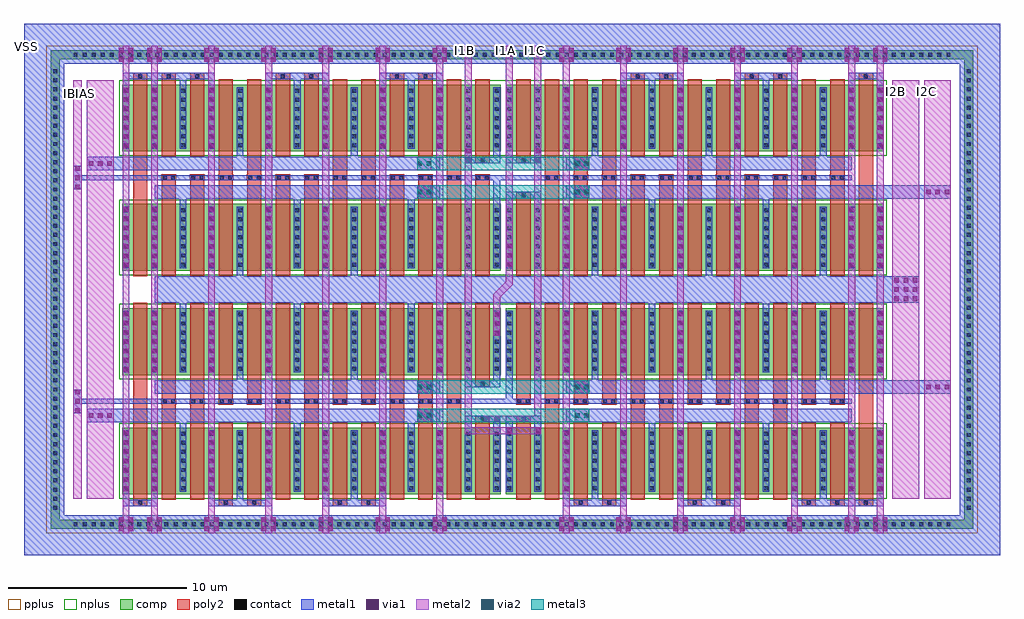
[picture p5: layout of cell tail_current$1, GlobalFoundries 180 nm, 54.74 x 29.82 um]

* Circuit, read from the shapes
.subckt tail_current$1 I1A I1B I1C I2A I2B I2C IBIAS VSS
XM1 VSS VSS VSS VSS nfet_03v3 w=3.75u l=0.8u m=28
XM2 I2A IBIAS VSS VSS nfet_03v3 w=3.75u l=0.8u m=20
XM3 I2B IBIAS VSS VSS nfet_03v3 w=3.75u l=0.8u m=20
XM4 I2C IBIAS VSS VSS nfet_03v3 w=3.75u l=0.8u m=20
XM5 I1C IBIAS VSS VSS nfet_03v3 w=3.75u l=0.8u m=2
XM6 I1A IBIAS VSS VSS nfet_03v3 w=3.75u l=0.8u m=2
XM7 IBIAS IBIAS VSS VSS nfet_03v3 w=3.75u l=0.8u m=2
XM8 I1B IBIAS VSS VSS nfet_03v3 w=3.75u l=0.8u m=2
XM9 I1C I1C I1C VSS nfet_03v3 w=3.75u l=0.8u m=2
XM10 I1A I1A I1A VSS nfet_03v3 w=3.75u l=0.8u m=2
XM11 IBIAS IBIAS IBIAS VSS nfet_03v3 w=3.75u l=0.8u m=2
XM12 I1B I1B I1B VSS nfet_03v3 w=3.75u l=0.8u m=2
.ends

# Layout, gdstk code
from math import pi, radians
import gdstk
lib = gdstk.Library(unit=1e-6, precision=1e-09)
def R(c, l, rs):  # rectangles x0, y0, x1, y1
    for r in rs: c.add(gdstk.rectangle(r[:2], r[2:], *l))
def A(c, l, x, y, w, h, nx, ny, dx, dy):  # array of equal rectangles
    R(c, l, [(x+i*dx, y+j*dy, x+i*dx+w, y+j*dy+h) for i in range(nx) for j in range(ny)])
comp = (22, 0)
poly2 = (30, 0)
pplus = (31, 0)
nplus = (32, 0)
contact = (33, 0)
metal1 = (34, 0)
via1 = (35, 0)
metal2 = (36, 0)
via2 = (38, 0)
metal3 = (42, 0)

nfet_8 = lib.new_cell('nfet$8')
R(nfet_8, comp, [(-0.42,0,0,3.75), (0,0,1.18,3.75), (1.18,0,1.6,3.75)])
R(nfet_8, poly2, [(0.19,-0.3,0.99,4.05), (0.19,4.05,0.99,4.41)])
R(nfet_8, nplus, [(-0.59,-0.24,1.77,3.99)])
A(nfet_8, contact, -0.32, 0.235, 0.22, 0.22, 1, 7, 0, 0.51)
A(nfet_8, contact, 1.28, 0.235, 0.22, 0.22, 1, 7, 0, 0.51)
R(nfet_8, contact, [(0.48,4.12,0.7,4.34)])
R(nfet_8, metal1, [(-0.4,0.155,-0.02,3.595), (1.2,0.155,1.58,3.595), (0.4,4.04,0.78,4.42)])

nmos_1_6 = lib.new_cell('nmos_1$6')
R(nmos_1_6, comp, [(0.08,0.305,0.5,4.055), (0.08,0.305,0.5,4.055), (0.5,0.305,1.68,4.055), (0.5,0.305,1.68,4.055), (1.68,0.305,2.1,4.055), (1.68,0.305,2.1,4.055)])
R(nmos_1_6, poly2, [(0.69,0.005,1.49,4.355), (0.69,0.005,1.49,4.355)])
R(nmos_1_6, nplus, [(-0.09,0.065,2.27,4.295), (-0.09,0.065,2.27,4.295)])
R(nmos_1_6, contact, [(0.18,0.54,0.4,0.76), (0.18,0.54,0.4,0.76), (1.78,0.54,2,0.76), (1.78,0.54,2,0.76), (0.18,1.05,0.4,1.27), (0.18,1.05,0.4,1.27), (1.78,1.05,2,1.27), (1.78,1.05,2,1.27), (0.18,1.56,0.4,1.78), (0.18,1.56,0.4,1.78), (1.78,1.56,2,1.78), (1.78,1.56,2,1.78), (0.18,2.07,0.4,2.29), (0.18,2.07,0.4,2.29), (1.78,2.07,2,2.29), (1.78,2.07,2,2.29), (0.18,2.58,0.4,2.8), (0.18,2.58,0.4,2.8), (1.78,2.58,2,2.8), (1.78,2.58,2,2.8), (0.18,3.09,0.4,3.31), (0.18,3.09,0.4,3.31), (1.78,3.09,2,3.31), (1.78,3.09,2,3.31), (0.18,3.6,0.4,3.82), (0.18,3.6,0.4,3.82), (1.78,3.6,2,3.82), (1.78,3.6,2,3.82)])
R(nmos_1_6, metal1, [(0.1,0.46,0.48,3.9), (0.1,0.46,0.48,3.9), (1.7,0.46,2.08,3.9), (1.7,0.46,2.08,3.9)])

nmos_2_4 = lib.new_cell('nmos_2_4')
R(nmos_2_4, poly2, [(0.1,-13.865,0.9,-11.525), (1.7,-13.865,2.5,-11.525), (0.085,-12.85,0.915,-12.54), (1.685,-12.85,2.515,-12.54), (0.1,-1.325,0.9,0.025), (1.7,-1.325,2.5,0.025), (0.085,-0.31,0.915,0), (1.685,-0.31,2.515,0)])
R(nmos_2_4, contact, [(0.155,-12.805,0.375,-12.585), (0.625,-12.805,0.845,-12.585), (1.755,-12.805,1.975,-12.585), (2.225,-12.805,2.445,-12.585), (0.155,-0.265,0.375,-0.045), (0.625,-0.265,0.845,-0.045), (1.755,-0.265,1.975,-0.045), (2.225,-0.265,2.445,-0.045)])
A(nmos_2_4, via1, -0.43, -17.73, 0.26, 0.26, 1, 7, 0, 0.52)
A(nmos_2_4, via1, 2.77, -17.73, 0.26, 0.26, 1, 7, 0, 0.52)
A(nmos_2_4, via1, -0.43, -11.04, 0.26, 0.26, 1, 7, 0, 0.52)
A(nmos_2_4, via1, 2.77, -11.04, 0.26, 0.26, 1, 7, 0, 0.52)
A(nmos_2_4, via1, -0.43, -5.19, 0.26, 0.26, 1, 7, 0, 0.52)
A(nmos_2_4, via1, 2.77, -5.19, 0.26, 0.26, 1, 7, 0, 0.52)
A(nmos_2_4, via1, -0.43, 1.5, 0.26, 0.26, 1, 7, 0, 0.52)
A(nmos_2_4, via1, 2.77, 1.5, 0.26, 0.26, 1, 7, 0, 0.52)
R(nmos_2_4, via1, [(-0.69,-19.975,-0.43,-19.715), (-0.17,-19.975,0.09,-19.715), (2.51,-19.975,2.77,-19.715), (3.03,-19.975,3.29,-19.715), (-0.69,-19.455,-0.43,-19.195), (-0.17,-19.455,0.09,-19.195), (2.51,-19.455,2.77,-19.195), (3.03,-19.455,3.29,-19.195), (-0.69,6.345,-0.43,6.605), (-0.17,6.345,0.09,6.605), (2.51,6.345,2.77,6.605), (3.03,6.345,3.29,6.605), (-0.69,6.865,-0.43,7.125), (-0.17,6.865,0.09,7.125), (2.51,6.865,2.77,7.125), (3.03,6.865,3.29,7.125)])
R(nmos_2_4, metal2, [(-0.7,-19.985,0.1,-19.185), (2.5,-19.985,3.3,-19.185), (-0.7,6.335,0.1,7.135), (2.5,6.335,3.3,7.135)])
nmos_2_4.add(gdstk.FlexPath([(1.3,-7.175),(1.3,-7.63)], 0.38, ends="flush", simple_path=True, layer=34, datatype=0))  # metal1
nmos_2_4.add(gdstk.FlexPath([(1.3,-14.32),(1.3,-13.865)], 0.38, ends="flush", simple_path=True, layer=34, datatype=0))  # metal1
nmos_2_4.add(gdstk.FlexPath([(-0.3,-12.695),(2.9,-12.695)], 0.28, ends="flush", simple_path=True, layer=34, datatype=0))  # metal1
nmos_2_4.add(gdstk.FlexPath([(1.3,-1.78),(1.3,-1.325)], 0.38, ends="flush", simple_path=True, layer=34, datatype=0))  # metal1
nmos_2_4.add(gdstk.FlexPath([(1.3,4.91),(1.3,5.545),(2.9,5.545),(2.9,4.91)], 0.38, ends="flush", simple_path=True, layer=34, datatype=0))  # metal1
nmos_2_4.add(gdstk.FlexPath([(-0.3,4.91),(-0.3,5.545),(1.3,5.545),(1.3,4.91)], 0.38, ends="flush", simple_path=True, layer=34, datatype=0))  # metal1
nmos_2_4.add(gdstk.FlexPath([(-0.3,0.64),(2.9,0.64)], 0.75, ends="flush", simple_path=True, layer=34, datatype=0))  # metal1
nmos_2_4.add(gdstk.FlexPath([(-0.3,-0.155),(2.9,-0.155)], 0.28, ends="flush", simple_path=True, layer=34, datatype=0))  # metal1
nmos_2_4.add(gdstk.FlexPath([(-0.3,-0.95),(2.9,-0.95)], 0.75, ends="flush", simple_path=True, layer=34, datatype=0))  # metal1
nmos_2_4.add(gdstk.FlexPath([(-0.3,-6.425),(2.9,-6.425)], 1.5, ends="flush", simple_path=True, layer=34, datatype=0))  # metal1
nmos_2_4.add(gdstk.FlexPath([(-0.3,-13.49),(2.9,-13.49)], 0.75, ends="flush", simple_path=True, layer=34, datatype=0))  # metal1
nmos_2_4.add(gdstk.FlexPath([(-0.3,-11.9),(2.9,-11.9)], 0.75, ends="flush", simple_path=True, layer=34, datatype=0))  # metal1
nmos_2_4.add(gdstk.FlexPath([(2.9,-20.085),(2.9,7.235)], 0.38, ends="flush", simple_path=True, layer=36, datatype=0))  # metal2
nmos_2_4.add(gdstk.FlexPath([(-0.3,-20.085),(-0.3,7.235)], 0.38, ends="flush", simple_path=True, layer=36, datatype=0))  # metal2
nmos_2_4.add(gdstk.Reference(nfet_8, (1.51,1.315)))
nmos_2_4.add(gdstk.Reference(nmos_1_6, (1.01,-5.68)))
nmos_2_4.add(gdstk.Reference(nmos_1_6, (-0.59,-5.68)))
nmos_2_4.add(gdstk.Reference(nmos_1_6, (-0.59,-11.53)))
nmos_2_4.add(gdstk.Reference(nmos_1_6, (1.01,-11.53)))
nmos_2_4.add(gdstk.Reference(nmos_1_6, (1.01,-18.22)))
nmos_2_4.add(gdstk.Reference(nmos_1_6, (-0.59,-18.22)))
nmos_2_4.add(gdstk.Reference(nfet_8, (-0.09,1.315)))

nmos_1_7 = lib.new_cell('nmos_1$7')
R(nmos_1_7, comp, [(0.08,0.305,0.5,4.055), (0.08,0.305,0.5,4.055), (0.5,0.305,1.68,4.055), (0.5,0.305,1.68,4.055), (1.68,0.305,2.1,4.055), (1.68,0.305,2.1,4.055)])
R(nmos_1_7, poly2, [(0.69,0.005,1.49,4.355), (0.69,0.005,1.49,4.355)])
R(nmos_1_7, nplus, [(-0.09,0.065,2.27,4.295), (-0.09,0.065,2.27,4.295)])
R(nmos_1_7, contact, [(0.18,0.54,0.4,0.76), (0.18,0.54,0.4,0.76), (1.78,0.54,2,0.76), (1.78,0.54,2,0.76), (0.18,1.05,0.4,1.27), (0.18,1.05,0.4,1.27), (1.78,1.05,2,1.27), (1.78,1.05,2,1.27), (0.18,1.56,0.4,1.78), (0.18,1.56,0.4,1.78), (1.78,1.56,2,1.78), (1.78,1.56,2,1.78), (0.18,2.07,0.4,2.29), (0.18,2.07,0.4,2.29), (1.78,2.07,2,2.29), (1.78,2.07,2,2.29), (0.18,2.58,0.4,2.8), (0.18,2.58,0.4,2.8), (1.78,2.58,2,2.8), (1.78,2.58,2,2.8), (0.18,3.09,0.4,3.31), (0.18,3.09,0.4,3.31), (1.78,3.09,2,3.31), (1.78,3.09,2,3.31), (0.18,3.6,0.4,3.82), (0.18,3.6,0.4,3.82), (1.78,3.6,2,3.82), (1.78,3.6,2,3.82)])
R(nmos_1_7, metal1, [(0.1,0.46,0.48,3.9), (0.1,0.46,0.48,3.9), (1.7,0.46,2.08,3.9), (1.7,0.46,2.08,3.9)])

nfet_9 = lib.new_cell('nfet$9')
R(nfet_9, comp, [(-0.42,0,0,3.75), (0,0,1.18,3.75), (1.18,0,1.6,3.75)])
R(nfet_9, poly2, [(0.19,-0.3,0.99,4.05), (0.19,4.05,0.99,4.41)])
R(nfet_9, nplus, [(-0.59,-0.24,1.77,3.99)])
A(nfet_9, contact, -0.32, 0.235, 0.22, 0.22, 1, 7, 0, 0.51)
A(nfet_9, contact, 1.28, 0.235, 0.22, 0.22, 1, 7, 0, 0.51)
R(nfet_9, contact, [(0.48,4.12,0.7,4.34)])
R(nfet_9, metal1, [(-0.4,0.155,-0.02,3.595), (1.2,0.155,1.58,3.595), (0.4,4.04,0.78,4.42)])

nmos_2_4_mid_2 = lib.new_cell('nmos_2_4_mid$2')
R(nmos_2_4_mid_2, poly2, [(0.1,-14.615,0.9,-12.275), (0.085,-13.6,0.915,-13.29), (0.1,-2.075,0.9,0.265), (1.7,-2.075,2.5,-0.725), (0.085,-1.06,0.915,-0.75), (1.685,-1.06,2.515,-0.75)])
R(nmos_2_4_mid_2, contact, [(0.155,-13.555,0.375,-13.335), (0.625,-13.555,0.845,-13.335), (0.155,-1.015,0.375,-0.795), (0.625,-1.015,0.845,-0.795), (1.755,-1.015,1.975,-0.795), (2.225,-1.015,2.445,-0.795)])
nmos_2_4_mid_2.add(gdstk.FlexPath([(2.9,-2.53),(2.9,-1.045)], 0.38, ends="flush", simple_path=True, layer=34, datatype=0))  # metal1
nmos_2_4_mid_2.add(gdstk.FlexPath([(1.3,-2.53),(1.3,-1.045)], 0.38, ends="flush", simple_path=True, layer=34, datatype=0))  # metal1
nmos_2_4_mid_2.add(gdstk.FlexPath([(-0.3,-0.905),(3.25,-0.905)], 0.28, ends="flush", simple_path=True, layer=34, datatype=0))  # metal1
nmos_2_4_mid_2.add(gdstk.FlexPath([(-0.3,-13.445),(3.25,-13.445)], 0.28, ends="flush", simple_path=True, layer=34, datatype=0))  # metal1
nmos_2_4_mid_2.add(gdstk.FlexPath([(1.3,-15.07),(1.3,-14.435),(2.9,-14.435),(2.9,-15.07)], 0.38, ends="flush", simple_path=True, layer=34, datatype=0))  # metal1
nmos_2_4_mid_2.add(gdstk.FlexPath([(1.3,-11.82),(1.3,-12.455),(2.9,-12.455),(2.9,-11.82)], 0.38, ends="flush", simple_path=True, layer=34, datatype=0))  # metal1
nmos_2_4_mid_2.add(gdstk.FlexPath([(1.3,0.72),(1.3,0.085),(2.9,0.085),(2.9,0.72)], 0.38, ends="flush", simple_path=True, layer=34, datatype=0))  # metal1
nmos_2_4_mid_2.add(gdstk.Reference(nmos_1_7, (-0.59,0.26)))
nmos_2_4_mid_2.add(gdstk.Reference(nmos_1_7, (-0.59,-6.43)))
nmos_2_4_mid_2.add(gdstk.Reference(nmos_1_7, (-0.59,-12.28)))
nmos_2_4_mid_2.add(gdstk.Reference(nmos_1_7, (-0.59,-18.97)))
nmos_2_4_mid_2.add(gdstk.Reference(nmos_1_7, (1.01,-6.43)))
nmos_2_4_mid_2.add(gdstk.Reference(nfet_9, (1.51,4.315), x_reflection=True))
nmos_2_4_mid_2.add(gdstk.Reference(nfet_9, (1.51,-8.225), x_reflection=True))
nmos_2_4_mid_2.add(gdstk.Reference(nfet_9, (1.51,-18.665)))

nfet_10 = lib.new_cell('nfet$10')
R(nfet_10, comp, [(-0.42,0,0,3.75), (0,0,1.18,3.75), (1.18,0,1.6,3.75)])
R(nfet_10, poly2, [(0.19,-0.3,0.99,4.05), (0.19,4.05,0.99,4.41)])
R(nfet_10, nplus, [(-0.59,-0.24,1.77,3.99)])
A(nfet_10, contact, -0.32, 0.235, 0.22, 0.22, 1, 7, 0, 0.51)
A(nfet_10, contact, 1.28, 0.235, 0.22, 0.22, 1, 7, 0, 0.51)
R(nfet_10, contact, [(0.48,4.12,0.7,4.34)])
R(nfet_10, metal1, [(-0.4,0.155,-0.02,3.595), (1.2,0.155,1.58,3.595), (0.4,4.04,0.78,4.42)])

nmos_1_8 = lib.new_cell('nmos_1$8')
R(nmos_1_8, comp, [(0.08,0.305,0.5,4.055), (0.08,0.305,0.5,4.055), (0.5,0.305,1.68,4.055), (0.5,0.305,1.68,4.055), (1.68,0.305,2.1,4.055), (1.68,0.305,2.1,4.055)])
R(nmos_1_8, poly2, [(0.69,0.005,1.49,4.355), (0.69,0.005,1.49,4.355)])
R(nmos_1_8, nplus, [(-0.09,0.065,2.27,4.295), (-0.09,0.065,2.27,4.295)])
R(nmos_1_8, contact, [(0.18,0.54,0.4,0.76), (0.18,0.54,0.4,0.76), (1.78,0.54,2,0.76), (1.78,0.54,2,0.76), (0.18,1.05,0.4,1.27), (0.18,1.05,0.4,1.27), (1.78,1.05,2,1.27), (1.78,1.05,2,1.27), (0.18,1.56,0.4,1.78), (0.18,1.56,0.4,1.78), (1.78,1.56,2,1.78), (1.78,1.56,2,1.78), (0.18,2.07,0.4,2.29), (0.18,2.07,0.4,2.29), (1.78,2.07,2,2.29), (1.78,2.07,2,2.29), (0.18,2.58,0.4,2.8), (0.18,2.58,0.4,2.8), (1.78,2.58,2,2.8), (1.78,2.58,2,2.8), (0.18,3.09,0.4,3.31), (0.18,3.09,0.4,3.31), (1.78,3.09,2,3.31), (1.78,3.09,2,3.31), (0.18,3.6,0.4,3.82), (0.18,3.6,0.4,3.82), (1.78,3.6,2,3.82), (1.78,3.6,2,3.82)])
R(nmos_1_8, metal1, [(0.1,0.46,0.48,3.9), (0.1,0.46,0.48,3.9), (1.7,0.46,2.08,3.9), (1.7,0.46,2.08,3.9)])

nmos_2_4_dummy = lib.new_cell('nmos_2_4_dummy')
R(nmos_2_4_dummy, poly2, [(6.835,-14.6,7.635,-12.26), (6.835,-2.06,7.635,0.28)])
A(nmos_2_4_dummy, via1, 6.305, -18.465, 0.26, 0.26, 1, 7, 0, 0.52)
A(nmos_2_4_dummy, via1, 7.905, -18.465, 0.26, 0.26, 1, 7, 0, 0.52)
A(nmos_2_4_dummy, via1, 6.305, -11.775, 0.26, 0.26, 1, 7, 0, 0.52)
A(nmos_2_4_dummy, via1, 7.905, -11.775, 0.26, 0.26, 1, 7, 0, 0.52)
A(nmos_2_4_dummy, via1, 6.305, -5.925, 0.26, 0.26, 1, 7, 0, 0.52)
A(nmos_2_4_dummy, via1, 7.905, -5.925, 0.26, 0.26, 1, 7, 0, 0.52)
A(nmos_2_4_dummy, via1, 6.305, 0.765, 0.26, 0.26, 1, 7, 0, 0.52)
A(nmos_2_4_dummy, via1, 7.905, 0.765, 0.26, 0.26, 1, 7, 0, 0.52)
R(nmos_2_4_dummy, via1, [(6.045,-20.71,6.305,-20.45), (6.565,-20.71,6.825,-20.45), (7.645,-20.71,7.905,-20.45), (8.165,-20.71,8.425,-20.45), (6.045,-20.19,6.305,-19.93), (6.565,-20.19,6.825,-19.93), (7.645,-20.19,7.905,-19.93), (8.165,-20.19,8.425,-19.93), (6.045,5.61,6.305,5.87), (6.565,5.61,6.825,5.87), (7.645,5.61,7.905,5.87), (8.165,5.61,8.425,5.87), (6.045,6.13,6.305,6.39), (6.565,6.13,6.825,6.39), (7.645,6.13,7.905,6.39), (8.165,6.13,8.425,6.39)])
R(nmos_2_4_dummy, metal2, [(6.035,-20.72,6.835,-19.92), (7.635,-20.72,8.435,-19.92), (6.035,5.6,6.835,6.4), (7.635,5.6,8.435,6.4)])
nmos_2_4_dummy.add(gdstk.FlexPath([(6.435,4.175),(6.435,4.81),(8.035,4.81),(8.035,4.175)], 0.38, ends="flush", simple_path=True, layer=34, datatype=0))  # metal1
nmos_2_4_dummy.add(gdstk.FlexPath([(6.435,-18.495),(6.435,-19.13),(8.035,-19.13),(8.035,-18.495)], 0.38, ends="flush", simple_path=True, layer=34, datatype=0))  # metal1
nmos_2_4_dummy.add(gdstk.FlexPath([(6.435,-20.82),(6.435,6.5)], 0.38, ends="flush", simple_path=True, layer=36, datatype=0))  # metal2
nmos_2_4_dummy.add(gdstk.FlexPath([(8.035,-20.82),(8.035,6.5)], 0.38, ends="flush", simple_path=True, layer=36, datatype=0))  # metal2
nmos_2_4_dummy.add(gdstk.Reference(nfet_10, (6.645,0.58)))
nmos_2_4_dummy.add(gdstk.Reference(nmos_1_8, (6.145,-12.265)))
nmos_2_4_dummy.add(gdstk.Reference(nfet_10, (6.645,-14.9), x_reflection=True))
nmos_2_4_dummy.add(gdstk.Reference(nmos_1_8, (6.145,-6.415)))

tail_current_1 = lib.new_cell('tail_current$1')
A(tail_current_1, contact, -26.18, -15.495, 0.22, 0.22, 97, 2, 0.51, 26.32)
A(tail_current_1, contact, -27.32, -14.575, 0.22, 0.22, 1, 49, 0, 0.51)
A(tail_current_1, contact, 23.92, -14.575, 0.22, 0.22, 1, 49, 0, 0.51)
A(tail_current_1, via1, -25.33, -9.42, 0.26, 0.26, 3, 2, 0.52, 14.13)
A(tail_current_1, via1, -26.09, -9.145, 0.26, 0.26, 1, 3, 0, 0.52)
A(tail_current_1, via1, 21.63, -7.83, 0.26, 0.26, 3, 2, 0.52, 10.95)
A(tail_current_1, via1, -2.57, -4.79, 0.26, 0.26, 1, 3, 0, 0.52)
A(tail_current_1, via1, 19.85, -2.875, 0.26, 0.26, 3, 3, 0.52, 0.52)
A(tail_current_1, via1, -1.87, -0.96, 0.26, 0.26, 1, 3, 0, 0.52)
A(tail_current_1, via1, -26.09, 3.395, 0.26, 0.26, 1, 3, 0, 0.52)
R(tail_current_1, via1, [(-1.87,-10.275,-1.61,-10.015), (-0.27,-10.275,-0.01,-10.015), (-3.09,-9.615,-2.83,-9.355), (-2.57,-9.615,-2.31,-9.355), (-6.9,-9.42,-6.64,-9.16), (-6.38,-9.42,-6.12,-9.16), (1.94,-9.42,2.2,-9.16), (2.46,-9.42,2.72,-9.16), (-6.9,-7.83,-6.64,-7.57), (-6.38,-7.83,-6.12,-7.57), (1.94,-7.83,2.2,-7.57), (2.46,-7.83,2.72,-7.57), (-6.9,3.12,-6.64,3.38), (-6.38,3.12,-6.12,3.38), (1.94,3.12,2.2,3.38), (2.46,3.12,2.72,3.38), (-6.9,4.71,-6.64,4.97), (-6.38,4.71,-6.12,4.97), (1.94,4.71,2.2,4.97), (2.46,4.71,2.72,4.97), (-4.17,4.9,-3.91,5.16), (-0.27,4.905,-0.01,5.165), (-4.17,5.42,-3.91,5.68), (-0.27,5.425,-0.01,5.685)])
R(tail_current_1, metal2, [(-6.91,-9.665,-6.11,-8.915), (1.93,-9.665,2.73,-8.915), (-6.91,-8.075,-6.11,-7.325), (1.93,-8.075,2.73,-7.325), (-6.91,2.875,-6.11,3.625), (1.93,2.875,2.73,3.625), (-6.91,4.465,-6.11,5.215), (1.93,4.465,2.73,5.215)])
R(tail_current_1, via2, [(-6.9,-9.42,-6.64,-9.16), (-6.38,-9.42,-6.12,-9.16), (1.94,-9.42,2.2,-9.16), (2.46,-9.42,2.72,-9.16), (-6.9,-7.83,-6.64,-7.57), (-6.38,-7.83,-6.12,-7.57), (1.94,-7.83,2.2,-7.57), (2.46,-7.83,2.72,-7.57), (-6.9,3.12,-6.64,3.38), (-6.38,3.12,-6.12,3.38), (1.94,3.12,2.2,3.38), (2.46,3.12,2.72,3.38), (-6.9,4.71,-6.64,4.97), (-6.38,4.71,-6.12,4.97), (1.94,4.71,2.2,4.97), (2.46,4.71,2.72,4.97)])
tail_current_1.add(gdstk.FlexPath([(-5.64,-2.225),(1.46,-2.225)], 1.5, ends="flush", simple_path=True, layer=34, datatype=0))  # metal1
tail_current_1.add(gdstk.FlexPath([(-21.64,-9.29),(-25.43,-9.29)], 0.75, ends="flush", simple_path=True, layer=34, datatype=0))  # metal1
tail_current_1.add(gdstk.FlexPath([(16.05,-2.225),(21.25,-2.225)], 1.5, ends="flush", simple_path=True, layer=34, datatype=0))  # metal1
tail_current_1.add(gdstk.FlexPath([(-20.04,4.045),(-25.71,4.045)], 0.28, ends="flush", simple_path=True, layer=34, datatype=0))  # metal1
tail_current_1.add(gdstk.FlexPath([(-20.04,-8.495),(-25.71,-8.495)], 0.28, ends="flush", simple_path=True, layer=34, datatype=0))  # metal1
tail_current_1.add(gdstk.FlexPath([(14.26,3.25),(23.03,3.25)], 0.75, ends="flush", simple_path=True, layer=34, datatype=0))  # metal1
tail_current_1.add(gdstk.FlexPath([(17.46,-7.7),(23.03,-7.7)], 0.75, ends="flush", simple_path=True, layer=34, datatype=0))  # metal1
tail_current_1.add(gdstk.FlexPath([(-25.96,-9.155),(-25.96,-7.835)], 0.5, ends="flush", simple_path=True, layer=34, datatype=0))  # metal1
tail_current_1.add(gdstk.FlexPath([(-25.96,3.385),(-25.96,4.705)], 0.5, ends="flush", simple_path=True, layer=34, datatype=0))  # metal1
tail_current_1.add(gdstk.FlexPath([(-26.71,11.56),(24.655,11.56),(24.655,-16.01),(-27.835,-16.01),(-27.835,12.685)], 2.25, ends="flush", simple_path=True, layer=34, datatype=0))  # metal1
tail_current_1.add(gdstk.FlexPath([(-18.44,4.84),(-25.43,4.84)], 0.75, ends="flush", simple_path=True, layer=34, datatype=0))  # metal1
tail_current_1.add(gdstk.FlexPath([(-26.96,10.935),(24.03,10.935),(24.03,-15.385),(-27.21,-15.385),(-27.21,11.185)], 0.5, ends="flush", simple_path=True, layer=22, datatype=0))  # comp
tail_current_1.add(gdstk.FlexPath([(-26.71,10.935),(24.03,10.935),(24.03,-15.385),(-27.21,-15.385),(-27.21,11.435)], 1, ends="flush", simple_path=True, layer=31, datatype=0))  # pplus
tail_current_1.add(gdstk.FlexPath([(-2.44,-4.81),(-2.44,-2.575),(-1.74,-1.875),(-1.74,0.36)], 0.38, ends="flush", simple_path=True, layer=36, datatype=0))  # metal2
tail_current_1.add(gdstk.FlexPath([(-4.04,5.7),(-4.04,-10.145),(0.05,-10.145)], 0.38, ends="flush", simple_path=True, layer=36, datatype=0))  # metal2
tail_current_1.add(gdstk.FlexPath([(-0.14,5.7),(-0.14,-9.485),(-3.15,-9.485)], 0.38, ends="flush", simple_path=True, layer=36, datatype=0))  # metal2
tail_current_1.add(gdstk.FlexPath([(-25.96,-13.96),(-25.96,9.5)], 0.5, ends="flush", simple_path=True, layer=36, datatype=0))  # metal2
tail_current_1.add(gdstk.FlexPath([(20.5,-13.96),(20.5,9.5)], 1.5, ends="flush", simple_path=True, layer=36, datatype=0))  # metal2
tail_current_1.add(gdstk.FlexPath([(22.28,-13.96),(22.28,9.5)], 1.5, ends="flush", simple_path=True, layer=36, datatype=0))  # metal2
tail_current_1.add(gdstk.FlexPath([(-24.68,-13.96),(-24.68,9.5)], 1.5, ends="flush", simple_path=True, layer=36, datatype=0))  # metal2
tail_current_1.add(gdstk.FlexPath([(-1.74,0.36),(-1.74,11.435)], 0.38, ends="flush", simple_path=True, layer=36, datatype=0))  # metal2
tail_current_1.add(gdstk.FlexPath([(-0.14,5.7),(-0.14,11.435)], 0.38, ends="flush", simple_path=True, layer=36, datatype=0))  # metal2
tail_current_1.add(gdstk.FlexPath([(-4.04,5.7),(-4.04,11.435)], 0.38, ends="flush", simple_path=True, layer=36, datatype=0))  # metal2
tail_current_1.add(gdstk.FlexPath([(-6.91,4.84),(2.73,4.84)], 0.75, ends="flush", simple_path=True, layer=42, datatype=0))  # metal3
tail_current_1.add(gdstk.FlexPath([(-6.91,-7.7),(2.73,-7.7)], 0.75, ends="flush", simple_path=True, layer=42, datatype=0))  # metal3
tail_current_1.add(gdstk.FlexPath([(-6.91,-9.29),(2.73,-9.29)], 0.75, ends="flush", simple_path=True, layer=42, datatype=0))  # metal3
tail_current_1.add(gdstk.FlexPath([(-6.91,3.25),(2.73,3.25)], 0.75, ends="flush", simple_path=True, layer=42, datatype=0))  # metal3
tail_current_1.add(gdstk.Reference(nmos_2_4, (17.16,-8.65), rotation=pi))
tail_current_1.add(gdstk.Reference(nmos_2_4, (-18.14,-8.65), x_reflection=True))
tail_current_1.add(gdstk.Reference(nmos_2_4, (-11.74,-8.65), x_reflection=True))
tail_current_1.add(gdstk.Reference(nmos_2_4, (-8.54,4.2)))
tail_current_1.add(gdstk.Reference(nmos_2_4, (-21.34,4.2)))
tail_current_1.add(gdstk.Reference(nmos_2_4, (13.96,4.2), rotation=pi, x_reflection=True))
tail_current_1.add(gdstk.Reference(nmos_2_4, (10.76,-8.65), rotation=pi))
tail_current_1.add(gdstk.Reference(nmos_2_4, (7.56,4.2), rotation=pi, x_reflection=True))
tail_current_1.add(gdstk.Reference(nmos_2_4, (4.36,-8.65), rotation=pi))
tail_current_1.add(gdstk.Reference(nmos_2_4_mid_2, (1.16,-9.4), rotation=pi))
tail_current_1.add(gdstk.Reference(nmos_2_4, (-14.94,4.2)))
tail_current_1.add(gdstk.Reference(nmos_2_4_mid_2, (-5.34,4.95)))
tail_current_1.add(gdstk.Reference(nmos_2_4_dummy, (11.025,4.935)))
tail_current_1.add(gdstk.Reference(nmos_2_4_dummy, (-29.675,4.935)))
tail_current_1.add(gdstk.Label('VSS', (-28.845,11.385), layer=34, texttype=10))
tail_current_1.add(gdstk.Label('IBIAS', (-25.87,8.78), layer=36, texttype=10))
tail_current_1.add(gdstk.Label('I1B', (-4.23,11.19), layer=36, texttype=10))
tail_current_1.add(gdstk.Label('I1C', (-0.33,11.185), layer=36, texttype=10))
tail_current_1.add(gdstk.Label('I2B', (19.91,8.875), layer=36, texttype=10))
tail_current_1.add(gdstk.Label('I2C', (21.67,8.885), layer=36, texttype=10))
tail_current_1.add(gdstk.Label('I2A', (-25.27,8.865), layer=36, texttype=10))
tail_current_1.add(gdstk.Label('I1A', (-1.93,11.185), layer=36, texttype=10))

lib.write_gds('tail_current_1.gds')
